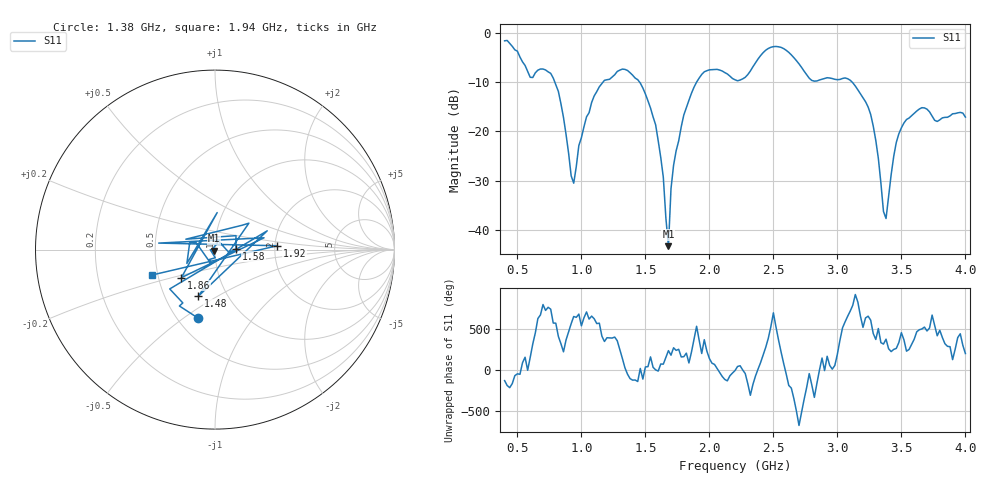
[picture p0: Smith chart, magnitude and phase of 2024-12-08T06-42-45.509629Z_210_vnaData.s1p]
!Created with skrf (http://scikit-rf.org).
# Hz S RI R 50.0
!freq ReS11 ImS11
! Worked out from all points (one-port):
!   181 points, 400 MHz to 4 GHz, reference 50 ohm
!   lowest |S11| = -43.2 dB at 1.68 GHz (marker M1), VSWR 1.01, Z = 49.6 - j0.574 ohm
!   |S11| at or under -10 dB: 792.2 MHz to 1.169 GHz (376.9 MHz wide, 38.4 % of centre); 1.454 GHz to 1.9 GHz (445.9 MHz wide, 26.6 % of centre); 3.115 GHz to end of sweep
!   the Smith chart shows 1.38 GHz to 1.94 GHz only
!   S11 on the Smith chart (normalised r, x): 1.38 GHz: 0.63, -0.57; 1.48 GHz: 0.73, -0.41; 1.58 GHz: 1.26, +0.01; 1.86 GHz: 0.66, -0.22; 1.92 GHz: 2.06, +0.10; 1.94 GHz: 0.46, -0.15
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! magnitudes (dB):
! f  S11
! 400 MHz  -1.7
! 600 MHz  -9.0
! 760 MHz  -8.2
! 860 MHz  -17.2
! 940 MHz  -30.5
! 980 MHz  -22.8
! 1.1 GHz  -12.8
! 1.3 GHz  -7.6
! 1.38 GHz  -8.1
! 1.48 GHz  -11.2
! 1.58 GHz  -18.7
! 1.64 GHz  -29.3
! 1.68 GHz  -43.2
! 1.7 GHz  -31.6
! 1.76 GHz  -21.9
! 1.86 GHz  -12.3
! 1.92 GHz  -9.2
! 1.94 GHz  -8.5
! 2.2 GHz  -9.5
! 2.48 GHz  -3.0
! 2.66 GHz  -5.1
! 2.8 GHz  -9.7
! 3.1 GHz  -9.6
! 3.26 GHz  -16.5
! 3.38 GHz  -37.6
! 3.46 GHz  -22.2
! 3.56 GHz  -17.3
! 4 GHz  -17.1
